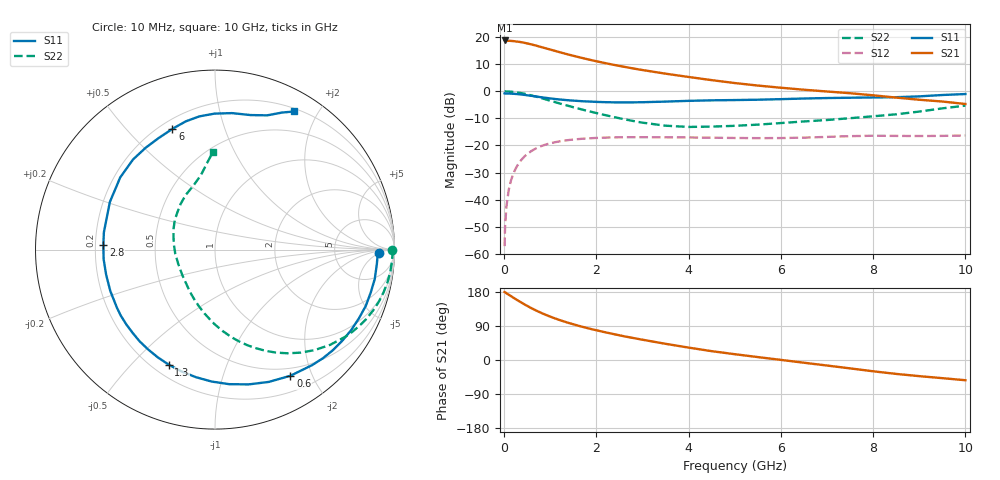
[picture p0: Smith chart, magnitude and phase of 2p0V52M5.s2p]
! (c) 2009  Infineon Technologies AG, Munich
! Infineon Technologies  Discrete & RF Semiconductors
! BFP420
! VCE =  0.5 V,  IC =  2.5 mA
! Common Emitter S-Parameters:  Nov 2009
# GHz  S  MA  R  50
!  f  S11  S21  S12  S22
! GHz  MAG  ANG  MAG  ANG  MAG  ANG  MAG  ANG
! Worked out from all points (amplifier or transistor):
!   46 points, 10 MHz to 10 GHz, reference 50 ohm
!   highest |S21| = 18.7 dB at 10 MHz (marker M1)
!   |S21| within 3 dB of that: start of sweep to 924.9 MHz
!   unconditionally stable (mu >= 1): 3.733 GHz to end of sweep
!   at 300 MHz: K = 0.06, MSG = 22.6 dB, |S12| = -27.0 dB
!   at 1.7 GHz: K = 0.44, MSG = 14.9 dB, |S12| = -17.5 dB
!   at 10 GHz: K = 1.15, MAG = 3.4 dB, |S12| = -16.3 dB
!   lowest NFmin = 0.55 dB at 900 MHz
!   S11 on the Smith chart (normalised r, x): 10 MHz: 20, -5; 600 MHz: 0.40, -1.69; 1.3 GHz: 0.26, -0.64; 2.8 GHz: 0.23, +0.02; 6 GHz: 0.25, +0.68; 10 GHz: 0.24, +1.70
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0.01  0.912 -1.3  8.59 179.3  0.0014 91.6  0.9873 -0.2
0.02  0.9063 -2.1  8.383 178.9  0.0032 86.8  0.989 -1.4
0.05  0.9054 -5.1  8.423 176.1  0.0076 88.0  0.9883 -3.6
0.15  0.9001 -15.4  8.427 168.4  0.023 80.9  0.9782 -10.7
0.25  0.8886 -25.6  8.241 160.5  0.0376 75.0  0.9577 -17.7
0.35  0.8722 -35.6  8.033 153.2  0.0514 69.1  0.9283 -24.5
0.45  0.8529 -45.3  7.739 146.2  0.0639 63.5  0.8925 -30.8
0.6  0.819 -59.1  7.232 136.2  0.0801 55.8  0.8319 -39.7
0.7  0.7957 -67.9  6.878 130.2  0.0893 51.2  0.7889 -45.2
0.9  0.7538 -84.0  6.164 119.3  0.1039 43.1  0.7061 -54.9
1.1  0.7185 -98.6  5.527 109.9  0.1148 36.3  0.6307 -63.4
1.3  0.6911 -111.9  4.963 101.6  0.1229 30.5  0.564 -71.1
1.7  0.6523 -134.8  4.074 87.5  0.1332 21.2  0.457 -84.4
2.2  0.6273 -158.4  3.276 72.9  0.1399 12.4  0.3614 -99.2
2.8  0.6225 177.8  2.619 58.0  0.1422 4.3  0.2822 -117.7
3.5  0.6429 155.7  2.1 42.7  0.1415 -2.8  0.2314 -141.7
4.5  0.6787 132.3  1.597 23.3  0.1391 -9.7  0.2227 -174.3
5.5  0.6965 116.7  1.269 7.7  0.1366 -13.6  0.2421 162.9
6  0.7134 109.4  1.157 0.3  0.1371 -14.9  0.2588 153.0
7  0.7474 96.7  0.986 -14.6  0.1439 -18.3  0.2945 135.5
8.5  0.775 75.3  0.762 -36.7  0.1501 -27.9  0.3751 108.9
10  0.8859 60.3  0.581 -53.4  0.1527 -33.2  0.5421 91.3
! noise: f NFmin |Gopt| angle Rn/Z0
0.9  0.55  0.41  33  0.2
1.8  1.02  0.24  78  0.16
2.4  1.11  0.26  103  0.15
3  1.28  0.27  140  0.11
4  1.5  0.34  -163  0.1
5  1.85  0.4  -130  0.26
6  2.56  0.5  -109  0.35
